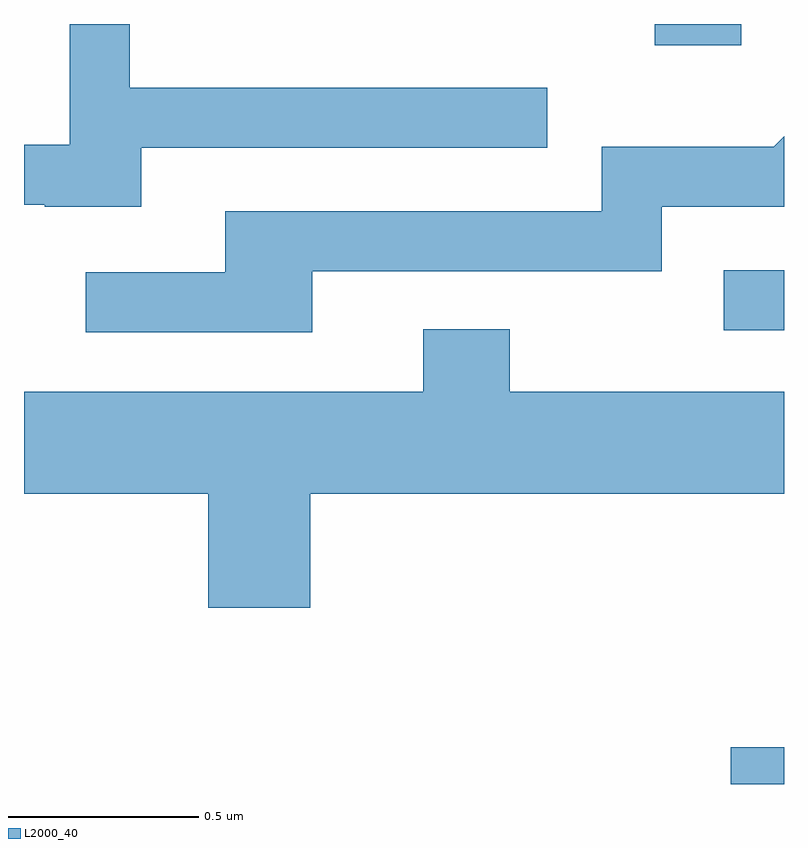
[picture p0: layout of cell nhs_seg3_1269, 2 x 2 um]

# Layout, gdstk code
import gdstk
lib = gdstk.Library(unit=1e-6, precision=1e-09)
def R(c, l, rs):  # rectangles x0, y0, x1, y1
    for r in rs: c.add(gdstk.rectangle(r[:2], r[2:], *l))
def P(c, l, *ps):  # polygons
    for p in ps: c.add(gdstk.Polygon(p, *l))
L2000_40 = (2000, 40)

nhs_seg3_1269 = lib.new_cell('nhs_seg3_1269')
R(nhs_seg3_1269, L2000_40, [(196.471,1151.892,196.611,1151.989), (196.453,1153.086,196.611,1153.244)])
P(nhs_seg3_1269, L2000_40, [(196.499,1153.892),(195.041,1153.892),(195.041,1153.891),(196.271,1153.891),(196.271,1153.836),(196.499,1153.836)],
  [(194.919,1153.566),(195.988,1153.566),(195.988,1153.724),(194.889,1153.724),(194.889,1153.892),(194.731,1153.892),(194.731,1153.574),(194.611,1153.574),(194.611,1153.416),(194.665,1153.416),(194.665,1153.411),(194.919,1153.411)],
  [(195.369,1153.241),(196.289,1153.241),(196.289,1153.411),(196.611,1153.411),(196.611,1153.596),(196.584,1153.569),(196.131,1153.569),(196.131,1153.399),(195.141,1153.399),(195.141,1153.239),(194.773,1153.239),(194.773,1153.081),(195.369,1153.081)],
  [(195.364,1152.656),(196.611,1152.656),(196.611,1152.924),(195.889,1152.924),(195.889,1153.089),(195.661,1153.089),(195.661,1152.924),(194.611,1152.924),(194.611,1152.656),(195.096,1152.656),(195.096,1152.356),(195.364,1152.356)])

lib.write_gds('nhs_seg3_1269.gds')
